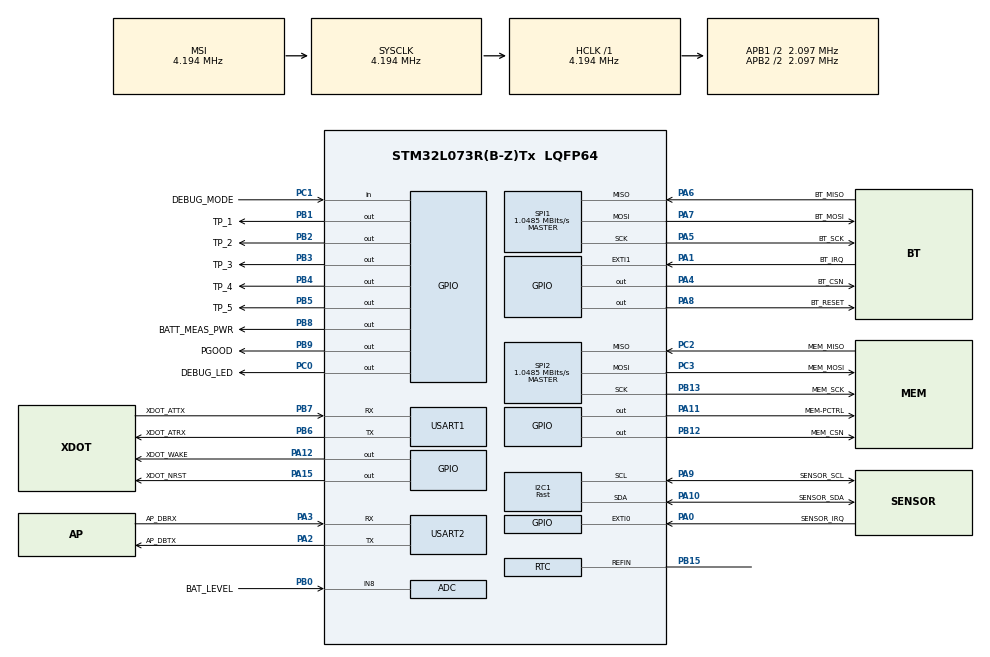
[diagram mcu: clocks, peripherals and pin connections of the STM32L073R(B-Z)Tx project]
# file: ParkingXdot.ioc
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ADC.ClockPrescaler=ADC_CLOCK_SYNC_PCLK_DIV2
ADC.ContinuousConvMode=DISABLE
ADC.DMAContinuousRequests=DISABLE
ADC.DataAlign=ADC_DATAALIGN_RIGHT
ADC.DiscontinuousConvMode=DISABLE
ADC.EOCSelection=ADC_EOC_SINGLE_CONV
ADC.EnableAnalogWatchDog=false
ADC.ExternalTrigConv=ADC_SOFTWARE_START
ADC.ExternalTrigConvEdge=ADC_EXTERNALTRIGCONVEDGE_NONE
ADC.LowPowerAutoPowerOff=DISABLE
ADC.LowPowerAutoWait=DISABLE
ADC.LowPowerFrequencyMode=ENABLE
ADC.Overrun=ADC_OVR_DATA_PRESERVED
ADC.OversamplingMode=DISABLE
ADC.Resolution=ADC_RESOLUTION_12B
ADC.SamplingTime=ADC_SAMPLETIME_160CYCLES_5
ADC.ScanConvMode=ADC_SCAN_DIRECTION_FORWARD
CRC.InputDataFormat=CRC_INPUTDATA_FORMAT_WORDS
Dma.I2C1_RX.3.Direction=DMA_PERIPH_TO_MEMORY
Dma.I2C1_RX.3.Instance=DMA1_Channel7
Dma.I2C1_RX.3.MemDataAlignment=DMA_MDATAALIGN_BYTE
Dma.I2C1_RX.3.MemInc=DMA_MINC_ENABLE
Dma.I2C1_RX.3.Mode=DMA_NORMAL
Dma.I2C1_RX.3.PeriphDataAlignment=DMA_PDATAALIGN_BYTE
Dma.I2C1_RX.3.PeriphInc=DMA_PINC_DISABLE
Dma.I2C1_RX.3.Priority=DMA_PRIORITY_LOW
Dma.I2C1_TX.4.Direction=DMA_MEMORY_TO_PERIPH
Dma.I2C1_TX.4.Instance=DMA1_Channel6
Dma.I2C1_TX.4.MemDataAlignment=DMA_MDATAALIGN_BYTE
Dma.I2C1_TX.4.MemInc=DMA_MINC_ENABLE
Dma.I2C1_TX.4.Mode=DMA_NORMAL
Dma.I2C1_TX.4.PeriphDataAlignment=DMA_PDATAALIGN_BYTE
Dma.I2C1_TX.4.PeriphInc=DMA_PINC_DISABLE
Dma.I2C1_TX.4.Priority=DMA_PRIORITY_LOW
Dma.Request0=USART2_RX
Dma.Request1=USART2_TX
Dma.Request2=USART1_RX
Dma.Request3=I2C1_RX
Dma.Request4=I2C1_TX
Dma.Request5=USART1_TX
Dma.USART1_RX.2.Direction=DMA_PERIPH_TO_MEMORY
Dma.USART1_RX.2.Instance=DMA1_Channel3
Dma.USART1_RX.2.MemDataAlignment=DMA_MDATAALIGN_BYTE
Dma.USART1_RX.2.MemInc=DMA_MINC_ENABLE
Dma.USART1_RX.2.Mode=DMA_CIRCULAR
Dma.USART1_RX.2.PeriphDataAlignment=DMA_PDATAALIGN_BYTE
Dma.USART1_RX.2.PeriphInc=DMA_PINC_DISABLE
Dma.USART1_RX.2.Priority=DMA_PRIORITY_LOW
Dma.USART1_TX.5.Direction=DMA_MEMORY_TO_PERIPH
Dma.USART1_TX.5.Instance=DMA1_Channel2
Dma.USART1_TX.5.MemDataAlignment=DMA_MDATAALIGN_BYTE
Dma.USART1_TX.5.MemInc=DMA_MINC_ENABLE
Dma.USART1_TX.5.Mode=DMA_CIRCULAR
Dma.USART1_TX.5.PeriphDataAlignment=DMA_PDATAALIGN_BYTE
Dma.USART1_TX.5.PeriphInc=DMA_PINC_DISABLE
Dma.USART1_TX.5.Priority=DMA_PRIORITY_LOW
Dma.USART2_RX.0.Direction=DMA_PERIPH_TO_MEMORY
Dma.USART2_RX.0.Instance=DMA1_Channel5
Dma.USART2_RX.0.MemDataAlignment=DMA_MDATAALIGN_BYTE
Dma.USART2_RX.0.MemInc=DMA_MINC_ENABLE
Dma.USART2_RX.0.Mode=DMA_NORMAL
Dma.USART2_RX.0.PeriphDataAlignment=DMA_PDATAALIGN_BYTE
Dma.USART2_RX.0.PeriphInc=DMA_PINC_DISABLE
Dma.USART2_RX.0.Priority=DMA_PRIORITY_LOW
Dma.USART2_TX.1.Direction=DMA_MEMORY_TO_PERIPH
Dma.USART2_TX.1.Instance=DMA1_Channel4
Dma.USART2_TX.1.MemDataAlignment=DMA_MDATAALIGN_BYTE
Dma.USART2_TX.1.MemInc=DMA_MINC_ENABLE
Dma.USART2_TX.1.Mode=DMA_NORMAL
Dma.USART2_TX.1.PeriphDataAlignment=DMA_PDATAALIGN_BYTE
Dma.USART2_TX.1.PeriphInc=DMA_PINC_DISABLE
Dma.USART2_TX.1.Priority=DMA_PRIORITY_LOW
I2C1.I2C_Speed_Mode=I2C_Fast
I2C1.Speed=400
I2C1.Timing=0x00000000
Mcu.Family=STM32L0
Mcu.Name=STM32L073R(B-Z)Tx
Mcu.Package=LQFP64
NVIC.ADC1_COMP_IRQn=true\:0\:0\:false\:false\:true
NVIC.DMA1_Channel2_3_IRQn=true\:0\:0\:false\:false\:true
NVIC.DMA1_Channel4_5_6_7_IRQn=true\:0\:0\:false\:false\:true
NVIC.EXTI0_1_IRQn=true\:0\:0\:false\:false\:true
NVIC.I2C1_IRQn=true\:0\:0\:false\:false\:true
NVIC.RTC_IRQn=true\:0\:0\:false\:false\:true
NVIC.USART1_IRQn=true\:0\:0\:false\:false\:true
NVIC.USART2_IRQn=true\:0\:0\:false\:false\:true
PA0.GPIO_Label=SENSOR_IRQ
PA0.GPIO_PuPd=GPIO_PULLDOWN
PA0.Signal=GPXTI0
PA1.GPIO_Label=BT_IRQ
PA1.GPIO_PuPd=GPIO_PULLDOWN
PA1.Signal=GPXTI1
PA10.GPIO_Label=SENSOR_SDA
PA10.Mode=I2C
PA10.Signal=I2C1_SDA
PA11.GPIO_Label=MEM-PCTRL
PA11.Signal=GPIO_Output
PA12.GPIO_Label=XDOT_WAKE
PA12.Signal=GPIO_Output
PA13.Mode=Serial_Wire
PA13.Signal=SYS_SWDIO
PA14.Mode=Serial_Wire
PA14.Signal=SYS_SWCLK
PA15.GPIO_Label=XDOT_NRST
PA15.GPIO_ModeDefaultOutputPP=GPIO_MODE_OUTPUT_OD
PA15.Signal=GPIO_Output
PA2.GPIO_Label=AP_DBTX
PA2.Mode=Asynchronous
PA2.Signal=USART2_TX
PA3.GPIO_Label=AP_DBRX
PA3.Mode=Asynchronous
PA3.Signal=USART2_RX
PA4.GPIO_Label=BT_CSN
PA4.GPIO_PuPd=GPIO_PULLUP
PA4.GPIO_Speed=GPIO_SPEED_FREQ_VERY_HIGH
PA4.Signal=GPIO_Output
PA5.GPIO_Label=BT_SCK
PA5.Mode=Full_Duplex_Master
PA5.Signal=SPI1_SCK
PA6.GPIO_Label=BT_MISO
PA6.Mode=Full_Duplex_Master
PA6.Signal=SPI1_MISO
PA7.GPIO_Label=BT_MOSI
PA7.Mode=Full_Duplex_Master
PA7.Signal=SPI1_MOSI
PA8.GPIO_Label=BT_RESET
PA8.Signal=GPIO_Output
PA9.GPIO_Label=SENSOR_SCL
PA9.Mode=I2C
PA9.Signal=I2C1_SCL
PB0.GPIO_Label=BAT_LEVEL
PB0.Mode=IN8
PB0.Signal=ADC_IN8
PB1.GPIO_Label=TP_1
PB1.Signal=GPIO_Output
PB12.GPIO_Label=MEM_CSN
PB12.GPIO_PuPd=GPIO_PULLUP
PB12.GPIO_Speed=GPIO_SPEED_FREQ_VERY_HIGH
PB12.Signal=GPIO_Output
PB13.GPIO_Label=MEM_SCK
PB13.Mode=Full_Duplex_Master
PB13.Signal=SPI2_SCK
PB15.Mode=Reference_Clock_Detection_Activate
PB15.Signal=RTC_REFIN
PB2.GPIO_Label=TP_2
PB2.Signal=GPIO_Output
PB3.GPIO_Label=TP_3
PB3.Signal=GPIO_Output
PB4.GPIO_Label=TP_4
PB4.Signal=GPIO_Output
PB5.GPIO_Label=TP_5
PB5.Signal=GPIO_Output
PB6.GPIO_Label=XDOT_ATRX
PB6.Mode=Asynchronous
PB6.Signal=USART1_TX
PB7.GPIO_Label=XDOT_ATTX
PB7.Mode=Asynchronous
PB7.Signal=USART1_RX
PB8.GPIO_Label=BATT_MEAS_PWR
PB8.Signal=GPIO_Output
PB9.GPIO_Label=PGOOD
PB9.Signal=GPIO_Output
PC0.GPIO_Label=DEBUG_LED
PC0.Signal=GPIO_Output
PC1.GPIO_Label=DEBUG_MODE
PC1.Signal=GPIO_Input
PC14-OSC32_IN.Mode=LSE-External-Oscillator
PC14-OSC32_IN.Signal=RCC_OSC32_IN
PC15-OSC32_OUT.Mode=LSE-External-Oscillator
PC15-OSC32_OUT.Signal=RCC_OSC32_OUT
PC2.GPIO_Label=MEM_MISO
PC2.Mode=Full_Duplex_Master
PC2.Signal=SPI2_MISO
PC3.GPIO_Label=MEM_MOSI
PC3.Mode=Full_Duplex_Master
PC3.Signal=SPI2_MOSI
ProjectManager.HeapSize=0x200
ProjectManager.StackSize=0x400
ProjectManager.TargetToolchain=EWARM
RCC.AHBFreq_Value=4194000
RCC.APB1CLKDivider=RCC_HCLK_DIV2
RCC.APB1Freq_Value=2097000
RCC.APB1TimFreq_Value=4194000
RCC.APB2CLKDivider=RCC_HCLK_DIV2
RCC.APB2Freq_Value=2097000
RCC.APB2TimFreq_Value=4194000
RCC.HCLKFreq_Value=4194000
RCC.HSE_VALUE=8000000
RCC.HSI16_VALUE=16000000
RCC.HSI48_VALUE=48000000
RCC.HSI_VALUE=16000000
RCC.LptimClockSelection=RCC_LPTIM1CLKSOURCE_LSE
RCC.MSIClockRange=RCC_MSIRANGE_6
RCC.MSI_VALUE=4194000
RCC.PLLMUL=RCC_PLLMUL_32
RCC.RTCClockSelection=RCC_RTCCLKSOURCE_LSE
RCC.RTCClockSelectionVirtual=RCC_RTCCLKSOURCE_LSE
RCC.SYSCLKFreq_VALUE=4194000
RCC.VCOOutputFreq_Value=512000000
RTC.AlarmMaskDateWeekDay-Alarm\ A=RTC_ALARMMASK_DATEWEEKDAY
RTC.AlarmMaskHours-Alarm\ A=RTC_ALARMMASK_HOURS
RTC.Date=22
RTC.Hours=9
RTC.Hours_A-Alarm\ A=9
RTC.Minutes=7
RTC.Minutes_A-Alarm\ A=8
RTC.Month=RTC_MONTH_FEBRUARY
RTC.Seconds=35
RTC.Seconds_A-Alarm\ A=35
RTC.WakeUpCounter-WakeUp=0x2616
RTC.WeekDay=RTC_WEEKDAY_WEDNESDAY
RTC.Year=17
SPI1.CalculateBaudRate=1.0485 MBits/s
SPI1.Mode=SPI_MODE_MASTER
SPI2.CalculateBaudRate=1.0485 MBits/s
SPI2.Mode=SPI_MODE_MASTER
USART1.WordLength=UART_WORDLENGTH_8B
USART2.WordLength=UART_WORDLENGTH_8B
VP_ADC_TempSens_Input.Mode=IN-TempSens
VP_ADC_Vref_Input.Mode=IN-Vrefint
VP_CRC_VS_CRC.Mode=CRC_Activate
VP_LPTIM1_VS_LPTIM_counterModeInternalClock.Mode=Counts__internal_clock_event_00
VP_RTC_VS_RTC_Activate.Mode=RTC_Enabled
VP_RTC_VS_RTC_Alarm_A_Intern.Mode=Alarm A
VP_RTC_VS_RTC_Calendar.Mode=RTC_Calendar
VP_RTC_VS_RTC_WakeUp_intern.Mode=WakeUp
VP_WWDG_VS_WWDG.Mode=WWDG_Activate
WWDG.Counter=127
WWDG.Prescaler=WWDG_PRESCALER_8
WWDG.Window=127
board=ParkingXdot

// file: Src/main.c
/**
  ******************************************************************************
  * File Name          : main.c
  * Description        : Main program body
  ******************************************************************************
  *
  * COPYRIGHT(c) 2017 STMicroelectronics
  *
  * Redistribution and use in source and binary forms, with or without modification,
  * are permitted provided that the following conditions are met:
  *   1. Redistributions of source code must retain the above copyright notice,
  *      this list of conditions and the following disclaimer.
  *   2. Redistributions in binary form must reproduce the above copyright notice,
  *      this list of conditions and the following disclaimer in the documentation
  *      and/or other materials provided with the distribution.
  *   3. Neither the name of STMicroelectronics nor the names of its contributors
  *      may be used to endorse or promote products derived from this software
  *      without specific prior written permission.
  *
  * THIS SOFTWARE IS PROVIDED BY THE COPYRIGHT HOLDERS AND CONTRIBUTORS "AS IS"
  * AND ANY EXPRESS OR IMPLIED WARRANTIES, INCLUDING, BUT NOT LIMITED TO, THE
  * IMPLIED WARRANTIES OF MERCHANTABILITY AND FITNESS FOR A PARTICULAR PURPOSE ARE
  * DISCLAIMED. IN NO EVENT SHALL THE COPYRIGHT HOLDER OR CONTRIBUTORS BE LIABLE
  * FOR ANY DIRECT, INDIRECT, INCIDENTAL, SPECIAL, EXEMPLARY, OR CONSEQUENTIAL
  * DAMAGES (INCLUDING, BUT NOT LIMITED TO, PROCUREMENT OF SUBSTITUTE GOODS OR
  * SERVICES; LOSS OF USE, DATA, OR PROFITS; OR BUSINESS INTERRUPTION) HOWEVER
  * CAUSED AND ON ANY THEORY OF LIABILITY, WHETHER IN CONTRACT, STRICT LIABILITY,
  * OR TORT (INCLUDING NEGLIGENCE OR OTHERWISE) ARISING IN ANY WAY OUT OF THE USE
  * OF THIS SOFTWARE, EVEN IF ADVISED OF THE POSSIBILITY OF SUCH DAMAGE.
  *
  ******************************************************************************
  */
#include "main.h"
#include "stm32l0xx_hal.h"
#include "adc.h"
#include "crc.h"
#include "dma.h"
#include "i2c.h"
#include "lptim.h"
#include "rtc.h"
#include "spi.h"
#include "usart.h"
#include "wwdg.h"
#include "gpio.h"

/* USER CODE BEGIN Includes */
#include "adc_monitor.h"
// #include "mpc9808.h"
#include "stm32_bluenrg_ble.h"
#include "bluenrg_utils.h"
#include "SENtralA2.h"
#include "parking.h"
#include "parking_sensor.h"
//#include "sensor_service.h"
#include "spi_flash.h"
#include "pni_fota.h"
#include "pni_device_info.h"
#include "radio.h"
#include "parking_buffer.h"
#include "parking_fsm.h"
#include "parking_sensor.h"
#include "parking_sensor_rti.h"
#include "parking_module.h"

#if ENABLE_MCP9808
#include "mcp9808.h"
#include "mcp9808_l0xx.h"
#include "park_temp_sns_mcp9808.h"
#endif /* ENABLE_MCP9808 */

#if ENABLE_XDOT_RADIO
#include "xdot.h"
#include "xdot_hex.h"
#include "crypto.h"
#endif /* ENABLE_XDOT_RADIO */

/* USER CODE END Includes */

/* USER CODE BEGIN PV */
/* Private variables ---------------------------------------------------------*/
static PNI_ParkingBufferIface m_ParkingBuffer = { 0 };
static PNI_ParkingSensorIface m_ParkingSensor = { 0 };
static PNI_RadioIface m_ParkingRadio = { 0 };

/*
 * Store device hardware info like MAC addresses
 */
PNI_DeviceInfo gPniDeviceInfo = { 0 };

#if ENABLE_XDOT_RADIO
/*
 * PNI LoRa AppEUI for iot-dev
 */
 #if ENABLE_LIERDA_2N717M91
 static const uint8_t PNI_LORA_STANDARD_APP_EUI[] = {
    0x2c, 0x26 ,0xc5,0x03 ,0x8f ,0x00 ,0x00 ,0x01,
};
#else
static const uint8_t PNI_LORA_STANDARD_APP_EUI[] = {
    0x14, 0x93, 0x46, 0x00, 0x00, 0x00, 0x00, 0x01
};
#endif
/*
 * Stringified version of AppEUI for use with xDot AT commands
 */
static char gPniLoraStandardAppEui[sizeof(PNI_LORA_STANDARD_APP_EUI) * 3];

/*
 * PNI LoRa AppKey for iot-dev, generated from hmac_md5(AppEUI, DeviceId)
 */
static uint8_t PNI_LORA_STANDARD_APP_KEY[16] = { 0 };

/*
 * Stringified version of AppKey for use with xDot AT commands
 */
static char gPniLoraStandardAppKey[sizeof(PNI_LORA_STANDARD_APP_KEY) * 3];

#if ENABLE_LIERDA_2N717M91
static Xdot_Cfg m_XdotCfg = {
  .echo_enabled = 1,
  .ism_band = XDOT_ISM_BAND_CH470,
  .freq_sub_band = XDOT_FSB_902_3__903_7,
  .public_network_enabled = 1,
  .network_join_mode = XDOT_NJM_AUTO_OTA,
  // .network_id = "38:d1:7d:94:5b:bd:97:a5",
  .network_app_eui = NULL,
  .ni_type = XDOT_NI_TYPE_HEX,
  // .network_key = "e0:29:75:1d:db:a5:66:de:87:5b:62:fa:2f:79:3c:af",
  .network_app_key = NULL,
  .nk_type = XDOT_NI_TYPE_HEX,
  .sf = XDOT_SF_7_BW_125,
  .acks_enabled = 1,
  .rx_type = XDOT_RX_OUT_TYPE_HEX,
};
#else
static Xdot_Cfg m_XdotCfg = {
  .echo_enabled = 1,
  .ism_band = XDOT_ISM_BAND_US915,
  .freq_sub_band = XDOT_FSB_902_3__903_7,
  .public_network_enabled = 1,
  .network_join_mode = XDOT_NJM_OTA,
  // .network_app_eui = "38:d1:7d:94:5b:bd:97:a5",
  .network_app_eui = NULL,
  .ni_type = XDOT_NI_TYPE_HEX,
  // .network_app_key = "e0:29:75:1d:db:a5:66:de:87:5b:62:fa:2f:79:3c:af",
  .network_app_key = NULL,
  .nk_type = XDOT_NI_TYPE_HEX,
  .sf = XDOT_SF_7_BW_125,
  .acks_enabled = 1,
  .rx_type = XDOT_RX_OUT_TYPE_HEX,
  .txp = 11, /* TX power = 11 dBm */
};
#endif

#endif /* ENABLE_XDOT_RADIO */

static const uint64_t RTI_META_EVENT_BITMASK = 4063234762ULL;
static int m_RtiInitComplete = 0;

/* USER CODE END PV */

void SystemClock_Config(void);
void Error_Handler(void);

/* USER CODE BEGIN PFP */
/* Private function prototypes -----------------------------------------------*/
#ifdef __GNUC__
  /* With GCC/RAISONANCE, small printf (option LD Linker->Libraries->Small printf
     set to 'Yes') calls __io_putchar() */
  #define PUTCHAR_PROTOTYPE int __io_putchar(int ch)
#else
  #define PUTCHAR_PROTOTYPE int fputc(int ch, FILE *f)
#endif /* __GNUC__ */

static void Init_BlueNRG_Stack(PNI_ParkingVersion *version);
static void Init_BlueNRG_Custom_Services(void);

/* USER CODE END PFP */

/* USER CODE BEGIN 0 */

#if ENABLE_XDOT_RADIO
int PNI_Radio_Init(PNI_RadioIface *radio, Xdot_Cfg *cfg)
{
    PNI_RadioDeviceId *devid = &gPniDeviceInfo.radio_id;
    int ret;

    ret = pni_radio_xdot_init(radio, &huart1);
    if (ret != PNI_RADIO_RET_OK) {
        return ret;
    }

    /* PPX-70 */
    if ( CHECK_XDOT_FLAG_SET(XDOT_FLAG_PROD_CHANGE_CFG) ) {
      PNI_PRINTF("[RADIO] Change XDot config to EEPROM configuration!!!\r\n");

      /* ism_band is using auto hw detection, leave this part for hw without auto detection */
      if (EEPROM_U32_XDOT_PROD_CFG_ISM_BAND[0] < XDOT_ISM_BAND_MAX) {
        PNI_PRINTF("\tism band: from %u to %u\r\n",
                   cfg->ism_band, EEPROM_U32_XDOT_PROD_CFG_ISM_BAND[0]);

        cfg->ism_band = EEPROM_U32_XDOT_PROD_CFG_ISM_BAND[0];
      }

      if (EEPROM_U32_XDOT_PROD_CFG_SUB_BAND[0] < XDOT_FSB_MAX) {
        PNI_PRINTF("\tsub band: from %u to %u\r\n",
                   cfg->freq_sub_band, EEPROM_U32_XDOT_PROD_CFG_SUB_BAND[0]);

        cfg->freq_sub_band = EEPROM_U32_XDOT_PROD_CFG_SUB_BAND[0];
      }

      if (EEPROM_U32_XDOT_PROD_CFG_SF[0] < XDOT_SF_MAX) {
        PNI_PRINTF("\tsf: from %u to %u\r\n",
                   cfg->sf, EEPROM_U32_XDOT_PROD_CFG_SF[0]);

        cfg->sf = EEPROM_U32_XDOT_PROD_CFG_SF[0];
      }
    }

    ret = radio->configure(radio, cfg);
    if (ret != PNI_RADIO_RET_OK) {
        return ret;
    }

#if 0//ndef ENABLE_LIERDA_2N717M91  // 20170621 modify to get device eui and store
    ret = radio->get_device_id(devid);
    if (ret != PNI_RADIO_RET_OK) {
        return ret;
    }
#endif

    PNI_PRINTF("[RADIO] Device ID: %02x:%02x:%02x:%02x:%02x:%02x:%02x:%02x\r\n",
            devid->bytes[0], devid->bytes[1], devid->bytes[2], devid->bytes[3],
            devid->bytes[4], devid->bytes[5], devid->bytes[6], devid->bytes[7]);

    // PPC-70: if eeprom production config exist, use eeprom config
    if ( CHECK_XDOT_FLAG_SET(XDOT_FLAG_PROD_EUI) ) {
      memcpy((uint8_t *)PNI_LORA_STANDARD_APP_EUI, EEPROM_U8_XDOT_PROD_EUI,
        sizeof(PNI_LORA_STANDARD_APP_EUI));
    }

    // convert network id byte array to string
    xdot_bytes_to_hex(PNI_LORA_STANDARD_APP_EUI, sizeof(PNI_LORA_STANDARD_APP_EUI),
        gPniLoraStandardAppEui, ':', 0);

    if ( CHECK_XDOT_FLAG_SET(XDOT_FLAG_PROD_NET_KEY) ) {
      memcpy((uint8_t *)PNI_LORA_STANDARD_APP_KEY, EEPROM_U8_XDOT_PROD_NET_KEY,
        sizeof(PNI_LORA_STANDARD_APP_KEY));
    } else {
      // generate network key byte array using hmac_md5(network id, device id)
      hmac_md5(PNI_LORA_STANDARD_APP_EUI, sizeof(PNI_LORA_STANDARD_APP_EUI),
          (uint8_t *)devid, sizeof(*devid), PNI_LORA_STANDARD_APP_KEY);
    }

    // convert network key byte array to string
    xdot_bytes_to_hex(PNI_LORA_STANDARD_APP_KEY, sizeof(PNI_LORA_STANDARD_APP_KEY),
        gPniLoraStandardAppKey, ':', 0);

    // assign string versions to xDot cfg
    cfg->network_app_eui = gPniLoraStandardAppEui;
    cfg->network_app_key = gPniLoraStandardAppKey;

    return PNI_RADIO_RET_OK;
}

#if ENABLE_RADIO_TEST_MODE
int PNI_Radio_Test(PNI_RadioIface *radio, Xdot_Cfg *cfg)
{
  Xdot_TestParams params = {
      .txf = "908600000",
      .txp = 11,
      .msg = "deadbeef",
      .interval_ms = 100,
  };

  /* enable test mode */
  radio->set_test_mode_enabled(radio, 1, &params);

  /* endless loop */
  while (1) {
    Clock_Wait(10);
  }
}
#endif /* ENABLE_RADIO_TEST_MODE */

#endif /* ENABLE_XDOT_RADIO */

static void PNI_Parking_ShowSensorVersion(PNI_ParkingVersion *version)
{
  PNI_PRINTF("+----------------------------------------------+\r\n");
  PNI_PRINTF("| PNI SENtral-A2 FW Version: %u.%u.%u.%u\r\n",
  version->major, version->minor, version->patch, version->build);
  PNI_PRINTF("+----------------------------------------------+\r\n");
}

static void PNI_Parking_ShowHostVersion(PNI_ParkingVersion *version,
    const char *build_date, const char *build_time)
{
  PNI_PRINTF(
        "----------------------------------------------\r\n"
        "ParkingXDot Host - V%.2u.%.2u.%.2u.%.3u!!!\r\n"
        "Compiled %s %s"
      #if defined (__IAR_SYSTEMS_ICC__)
        " (IAR)\r\n"
      #elif defined (__GNUC__)
        " (openstm32)\r\n"
      #endif
        "STM32L073 Unique ID: 0x%.08X%.08X%.08X\r\n"
        "----------------------------------------------\r\n"
        , version->major, version->minor, version->patch, version->build,
        build_date, build_time, STM32_UUID[2], STM32_UUID[1], STM32_UUID[0]);
}

static void PNI_Parking_PushLegacyVersions(PNI_ParkingModule *module,
        PNI_ParkingBufferIface *buffer)
{
    PNI_ParkingPacket pkt = {
        .sid = PARK_SNS_TYPE_VERSION,
        .version_info = {
            .host = {
                .major = module->version.host.major,
                .minor = module->version.host.minor,
                .patch = module->version.host.patch,
            },
            .sensor = {
                .major = module->version.sensor.major,
                .minor = module->version.sensor.minor,
                .patch = module->version.sensor.patch,
                .other = 0,
                .build = module->version.sensor.build,
            },
        },
        .timestamp = 0U, /* TODO: get this */
    };

    buffer->push(buffer, &pkt);
}

static void PNI_Parking_PushVersion(PNI_ParkingVersion *version,
        PNI_ParkingBufferIface *buffer)
{
    PNI_ParkingPacket pkt = {
        .sid = PARK_SNS_TYPE_FW_VERSION,
        .version = *version,
        .timestamp = 0U,
    };

    buffer->push(buffer, &pkt);
}

static void PNI_Parking_PushVersions(PNI_ParkingModule *module,
        PNI_ParkingBufferIface *buffer)
{
    /* push legacy version info (host + sensor in one packet) */
    PNI_Parking_PushLegacyVersions(module, buffer);

    /* push new version format (each in own packet) */
    PNI_Parking_PushVersion(&module->version.host, buffer);
    PNI_Parking_PushVersion(&module->version.sensor, buffer);
    PNI_Parking_PushVersion(&module->version.ble, buffer);
}

/* This should go somewhere else ... */
static void PNI_SENtralA2_On_Initialized(void *self, uint16_t ram_ver)
{
  SENtralA2_MetaEvent_Callback *cb = self;
  PNI_ParkingModule *module = cb->params;
  PNI_ParkingSensorIface *park_sns = module->sensor;
  SENtralA2Iface *rti = park_sns->params;

  if (m_RtiInitComplete) {
    PNI_PRINTF("[WARN] already initialized ...\r\n");
    return;
  }

  m_RtiInitComplete = 1;

  /* show version */
  PNI_PRINTF("[INFO] SENtral-A2 initializtion complete!\r\n");
  if (park_sns->get_version(park_sns, &module->version.sensor)
        != PNI_PARKING_RET_OK) {
      PNI_PRINTF("[ERROR] getting parking version\r\n");
  } else {
      PNI_Parking_ShowSensorVersion(&module->version.sensor);
  }
  PNI_Parking_PushVersions(module, module->buffer);

  /* set meta event ctrl */
  PNI_PRINTF("[INFO] setting meta event control ...\r\n");
  if (rti->set_meta_event_ctrl(rti, RTI_META_EVENT_BITMASK,
      RTI_META_EVENT_BITMASK) != SENA2_RET_OK) {
    PNI_PRINTF("[ERROR] setting meta event control\r\n");
  }
#ifdef ENABLE_SWITCH_SOLUTION
#ifdef ENBALE_GAME_ROTATION_VECTOR
  /* enable game rotation sensor */
  PNI_PRINTF("[INFO] enabling game rotation sensor ...\r\n");
  if (park_sns->set_game_rotation_enabled(park_sns, 1) != PNI_PARKING_RET_OK) {
    PNI_PRINTF("[ERROR] enabling game rotation sensor\r\n");
  }
#endif
#ifdef ENABLE_ORIENTATION
  /* enable orientation sensor */
  PNI_PRINTF("[INFO] enabling orientation sensor ...\r\n");
  if (park_sns->set_orientation_enabled(park_sns, 1) != PNI_PARKING_RET_OK) {
    PNI_PRINTF("[ERROR] enabling orientation sensor\r\n");
  }
#endif

#else
  /* enable car detector sensor */
  PNI_PRINTF("[INFO] enabling car detector sensor ...\r\n");
  if (park_sns->set_car_detector_enabled(park_sns, 1) != PNI_PARKING_RET_OK) {
    PNI_PRINTF("[ERROR] enabling car detector sensor\r\n");
  }
#endif
}

static void PNI_SENtralA2_Meta_Event_Callback_Init(SENtralA2Iface *rti,
    SENtralA2_MetaEvent_Callback *cb, PNI_ParkingModule *module)
{
  cb->on_initialized = &PNI_SENtralA2_On_Initialized;
  cb->params = module;
  rti->meta_event_cb = cb;
}

/* USER CODE END 0 */

int main(void)
{

  /* USER CODE BEGIN 1 */

  /* Define interfaces */
  /*A2基本信息设置，获取api*/
  SENtralA2Iface rti = { 0 };

  /*A2 Meta Event回调处理接口*/
  SENtralA2_MetaEvent_Callback meta_event_cb = { 0 };

  /*parking结构体的接口初始化[属于最外层结构体-汇总]*/
  PNI_ParkingModule park_module = {
    .buffer = &m_ParkingBuffer,
    .sensor = &m_ParkingSensor,
    .radio = &m_ParkingRadio,
    .cfg = { 0 },
    .version = {
        .host = {
            .vid = PARK_VID_HOST,
            .major = (uint8_t)HOST_REL_MAJOR,
            .minor = (uint8_t)HOST_REL_MINOR,
            .patch = (uint8_t)HOST_REL_PATCH,
            .build = (uint32_t)HOST_REL_BUILD,
        },
        .sensor = {
            .vid = PARK_VID_SENSOR,
            .major = 0,
            .minor = 0,
            .patch = 0,
            .build = 0,
         },
        .ble = {
            .vid = PARK_VID_BLE,
            .major = 0,
            .minor = 0,
            .patch = 0,
            .build = 0,
         },
        .lora = {
            .vid = PARK_VID_LORA,
            .major = 0,
            .minor = 0,
            .patch = 0,
            .build = 0,
         },
    },
  };

#if ENABLE_MCP9808
  /*温度传感器结构体初始化，在PNI_ParkingModule结构体中有对应结构体与之对应。最终tmp_sns需要向PNI_ParkingModule传递*/
  PNI_ParkingTemperatureSensorIface tmp_sns = { 0 };
  MCP9808_Iface mcp9808 = { 0 };
  MCP9808_L0XXParams mcp9808_params = {
    .hi2c = &MCP9808_I2C_HANDLE,
    .addr = MCP9808_I2C_ADDR,
    .timeout = MCP9808_I2C_TIMEOUT,
  };
#endif /* ENABLE_MCP9808 */

  /* USER CODE END 1 */

  /* MCU Configuration----------------------------------------------------------*/

  /* Reset of all peripherals, Initializes the Flash interface and the Systick. */
  HAL_Init();

  /* Configure the system clock */
  SystemClock_Config();

  /* Initialize all configured peripherals */
  MX_GPIO_Init();
  MX_DMA_Init();
  MX_ADC_Init();
  MX_I2C1_Init();
  MX_LPTIM1_Init();
  MX_RTC_Init();
  MX_SPI1_Init();
  MX_SPI2_Init();
  MX_USART1_UART_Init();
  MX_CRC_Init();

  /* USER CODE BEGIN 2 */
  #if ENABLE_PRINTF
  MX_USART2_UART_Init();
  #endif
  #if 0//ENABLE_WWDG
  MX_WWDG_Init();
  #endif
  #if 0//ENABLE_WAKEUP_TIME
  RTC_CalendarShow();
  #endif

  PNI_Parking_ShowHostVersion(&park_module.version.host, __DATE__, __TIME__);

  #if 0//ENABLE_WWDG
  if (HAL_WWDG_Refresh(&hwwdg) != HAL_OK)
      Error_Handler();
  #endif

  #if 0//ENABLE_XDOT_RADIO
  PNI_PRINTF("\r\n<<<< xDot Radio Init >>>\r\n");
  if (PNI_Radio_Init(park_module.radio, &m_XdotCfg) == PNI_RADIO_RET_OK) {
    PNI_PRINTF("Radio OK!\r\n");
  } else {
    PNI_PRINTF("Rasio FAILED!\r\n");
  }

  #if ENABLE_RADIO_TEST_MODE
  #ifndef ENABLE_LIERDA_2N717M91// CH Lora module haven't test mode
    PNI_Radio_Test(&m_ParkingRadio, &m_XdotCfg);
  #endif
  #endif /* ENABLE_RADIO_TEST_MODE */

  #endif /* ENABLE_XDOT_RADIO */

  #if 0//ENABLE_MCU_ADC//for battery
  PNI_PRINTF("\r\nMulti Channel ADC Monitor Init... ");
  /* this if for testing multi channel ADC monitor*/
  BATT_MEANS_PWR_ON();
  Adc_Monitor_Init();
  BATT_MEANS_PWR_OFF();
  PNI_PRINTF("Done\r\n");
  #endif

  #if 0//ENABLE_MCP9808
  /* this is for testing temperature module MPC9808 */
  PNI_PRINTF("\r\nDetecting MPC9808 ... ");

  /* initialize MCP9808 I2C I/O interface */
  mcp9808_l0xx_init(&mcp9808, &mcp9808_params);

  /* initialize MCP9808 parking temperature sensor implementation */
  park_tmp_sns_mcp9808_init(&tmp_sns, &mcp9808);

  if (tmp_sns.is_ready(&tmp_sns) == PARK_TEMP_SNS_RET_OK) {
    PNI_PRINTF("Found device\r\n");
    park_module.tmp_sns = &tmp_sns;
  } else {
    PNI_PRINTF("Not found\r\n");
  }
  #endif

  #if 0//ENABLE_BLE_FOTA
  PNI_PRINTF("\r\n<<<< START BLE >>>>\r\n");

  /* Initialize all FOTA related software */
  sFLASH_Init();
  Init_BlueNRG_Stack(&park_module.version.ble);
  Init_BlueNRG_Custom_Services();
  PNI_PRINTF("Start BLE Done\r\n");
  #endif

  #if ENABLE_SENTRAL_A2
  PNI_PRINTF("\r\n<<<< RTI module initialize >>>>\r\n");

  // Initialize parking sensor circular buffer //park_module buffer 结构体初始化
  //pni_parking_buffer_init(park_module.buffer);

  // Initialize RTI
  if (SENtralA2_init(&rti) != SENA2_RET_OK) {
    PNI_PRINTF("RTI module init Error\r\n");
  } else {
    PNI_PRINTF("RTI module init Done\r\n");
  }

  // Initialize parking sensor interface
  //pni_park_sns_rti_init(park_module.sensor, &rti);
  //PNI_SENtralA2_Meta_Event_Callback_Init(&rti, &meta_event_cb, &park_module);
#ifdef ENABLE_SWITCH_SOLUTION
  uint8_t regVal=0;

  uint64_t metaEventBits = 0xFFFFFFFFFFFF;
	ParamInfo param[] = { 1, 8 };
	SENtralA2_param_write((uint8_t*)&metaEventBits, PARAM_PAGE_SYSTEM, param, 1);
  Clock_Wait(100);
	param[0].paramNo = 29;
	SENtralA2_param_write((uint8_t*)&metaEventBits, PARAM_PAGE_SYSTEM, param, 1);
  Clock_Wait(100);
  //SENtralA2_i2c_write_value(0xB6, 63);

  //Set NED on all Qs
  //Read out Reg before setting it.
  SENtralA2_i2c_read_value(HOST_INTERFACE_CTRL_REG, &regVal);
  SENtralA2_i2c_write_value(HOST_INTERFACE_CTRL_REG, regVal|0x10);
#ifdef ENBALE_GAME_ROTATION_VECTOR
  /* enable game rotation sensor */
  PNI_PRINTF("[INFO] enabling game rotation sensor ...\r\n");

  #if 1
  uint32_t rvall=0;
  rvall = SENtralA2_set_sensor_rate(SENSOR_TYPE_ACCELEROMETER,100);
  PNI_PRINTF("[%d] enabling accal sensor\r\n",rvall);
  rvall = SENtralA2_set_sensor_rate(SENSOR_TYPE_GYROSCOPE,200);
  Clock_Wait(200);
  PNI_PRINTF("[%d] enabling gyro sensor\r\n",rvall);
  rvall = SENtralA2_set_sensor_rate(SENSOR_TYPE_MAGNETIC_FIELD,30);
  PNI_PRINTF("[%d] enabling m sensor\r\n",rvall);
  //rvall = SENtralA2_set_sensor_rate(SENSOR_TYPE_GAME_ROTATION_VECTOR,30);
  //PNI_PRINTF("[%d] enabling SENSOR_TYPE_GAME_ROTATION_VECTOR sensor\r\n",rvall);
  #else
  if (park_module.sensor->set_game_rotation_enabled(park_module.sensor, 1) != PNI_PARKING_RET_OK) {
    PNI_PRINTF("[ERROR] enabling game rotation sensor\r\n");
  }
  else
    PNI_PRINTF("[ok] enabling game rotation sensor\r\n");
  #endif
#endif
#ifdef 0//ENABLE_ORIENTATION
  /* enable orientation sensor */

  PNI_PRINTF("[main INFO] enabling orientation sensor ...\r\n");
  #if 0
  if (park_module.sensor->set_orientation_enabled(park_module.sensor, 1) != PNI_PARKING_RET_OK) {
    PNI_PRINTF("[ERROR] enabling orientation sensor\r\n");
  }
  #else
  uint32_t rvall=0;
  rvall = SENtralA2_set_sensor_rate(SENSOR_TYPE_ACCELEROMETER,100);
  PNI_PRINTF("[%d] enabling SENSOR_TYPE_ACCELEROMETER sensor\r\n",rvall);
  rvall = SENtralA2_set_sensor_rate(SENSOR_TYPE_GYROSCOPE,200);
  PNI_PRINTF("[%d] enabling SENSOR_TYPE_GYROSCOPE sensor\r\n",rvall);
  rvall = SENtralA2_set_sensor_rate(SENSOR_TYPE_MAGNETIC_FIELD,30);
  PNI_PRINTF("[%d] enabling SENSOR_TYPE_MAGNETIC_FIELD sensor\r\n",rvall);
   rvall = SENtralA2_set_sensor_rate(SENSOR_TYPE_ORIENTATION,30);
  PNI_PRINTF("[%d] enabling orientation sensor\r\n",rvall);
  #endif
#endif

  SENtralA2_flush_fifo();
  Clock_Wait(200);
#endif
  #endif

  /* USER CODE END 2 */

  /* Infinite loop */
  while (1)
  {

  /* USER CODE BEGIN 3 */
  #if ENABLE_LED_DBG
    DBG_LED_TOGGLE();
  #endif

  #if ENABLE_WWDG
    if (HAL_WWDG_Refresh(&hwwdg) != HAL_OK)
      Error_Handler();
  #endif

  #if ENABLE_SENTRAL_A2
  #if ENBALE_TEST_SENTRALA2
  // SENtrace use SENtral-A2
	//if(SENtralA2_interrupt())
	{
    extern uint8_t  SENtralA2FIFOBuf[3000];
    uint32_t bytesRead;
		// read fifo
		bytesRead = SENtralA2_read_fifo(SENtralA2FIFOBuf);
		PNI_PRINTF("bytes read: %u\r\n", bytesRead);
		SENtrace_parse_fifo(SENtralA2FIFOBuf, bytesRead);
	}
  #else
    Parking_Fsm(&park_module);
  #endif
  #endif

  }
  /* USER CODE END 3 */

}

/** System Clock Configuration
*/
void SystemClock_Config(void)
{

  RCC_OscInitTypeDef RCC_OscInitStruct;
  RCC_ClkInitTypeDef RCC_ClkInitStruct;
  RCC_PeriphCLKInitTypeDef PeriphClkInit;

    /**Configure the main internal regulator output voltage
    */
  __HAL_PWR_VOLTAGESCALING_CONFIG(PWR_REGULATOR_VOLTAGE_SCALE1);

    /**Initializes the CPU, AHB and APB busses clocks
    */
  RCC_OscInitStruct.OscillatorType = RCC_OSCILLATORTYPE_LSE|RCC_OSCILLATORTYPE_MSI;
  RCC_OscInitStruct.LSEState = RCC_LSE_ON;
  RCC_OscInitStruct.MSIState = RCC_MSI_ON;
  RCC_OscInitStruct.MSICalibrationValue = 0;
  RCC_OscInitStruct.MSIClockRange = RCC_MSIRANGE_6;
  RCC_OscInitStruct.PLL.PLLState = RCC_PLL_NONE;
  if (HAL_RCC_OscConfig(&RCC_OscInitStruct) != HAL_OK)
  {
    Error_Handler();
  }

    /**Initializes the CPU, AHB and APB busses clocks
    */
  RCC_ClkInitStruct.ClockType = RCC_CLOCKTYPE_HCLK|RCC_CLOCKTYPE_SYSCLK
                              |RCC_CLOCKTYPE_PCLK1|RCC_CLOCKTYPE_PCLK2;
  RCC_ClkInitStruct.SYSCLKSource = RCC_SYSCLKSOURCE_MSI;
  RCC_ClkInitStruct.AHBCLKDivider = RCC_SYSCLK_DIV1;
  RCC_ClkInitStruct.APB1CLKDivider = RCC_HCLK_DIV2;
  RCC_ClkInitStruct.APB2CLKDivider = RCC_HCLK_DIV2;

  if (HAL_RCC_ClockConfig(&RCC_ClkInitStruct, FLASH_LATENCY_0) != HAL_OK)
  {
    Error_Handler();
  }

  PeriphClkInit.PeriphClockSelection = RCC_PERIPHCLK_USART1|RCC_PERIPHCLK_USART2
                              |RCC_PERIPHCLK_I2C1|RCC_PERIPHCLK_RTC
                              |RCC_PERIPHCLK_LPTIM1;
  PeriphClkInit.Usart1ClockSelection = RCC_USART1CLKSOURCE_PCLK2;
  PeriphClkInit.Usart2ClockSelection = RCC_USART2CLKSOURCE_PCLK1;
  PeriphClkInit.I2c1ClockSelection = RCC_I2C1CLKSOURCE_PCLK1;
  PeriphClkInit.RTCClockSelection = RCC_RTCCLKSOURCE_LSE;
  PeriphClkInit.LptimClockSelection = RCC_LPTIM1CLKSOURCE_LSE;

  if (HAL_RCCEx_PeriphCLKConfig(&PeriphClkInit) != HAL_OK)
  {
    Error_Handler();
  }

    /**Configure LSE Drive Capability
    */
  __HAL_RCC_LSEDRIVE_CONFIG(RCC_LSEDRIVE_LOW);

    /**Configure the Systick interrupt time
    */
  HAL_SYSTICK_Config(HAL_RCC_GetHCLKFreq()/1000);

    /**Configure the Systick
    */
  HAL_SYSTICK_CLKSourceConfig(SYSTICK_CLKSOURCE_HCLK);

  /* SysTick_IRQn interrupt configuration */
  HAL_NVIC_SetPriority(SysTick_IRQn, 0, 0);
}

/* USER CODE BEGIN 4 */
PUTCHAR_PROTOTYPE
{
  /* Place your implementation of fputc here */
  /* e.g. write a character to the EVAL_COM1 and Loop until the end of transmission */

  // By default - Transmit using USART1
  //HAL_UART_Transmit(&huart2, (uint8_t *)&ch, 1, 0xFFFF);
  HAL_UART_Transmit_DMA(&huart2, (uint8_t *)&ch, 1);

  return ch;
}

/** @brief Initialize the BlueNRG Stack
 * @param None
 * @retval None
 */
static void Init_BlueNRG_Stack(PNI_ParkingVersion *version)
{
  const char BoardName[] = {NAME_PNI_BLE,0};
  uint16_t service_handle, dev_name_char_handle, appearance_char_handle;
  int ret;
  uint8_t  hwVersion;
  uint16_t fwVersion;
  uint8_t rdLength = 0;

  PNI_PRINTF("Initializing HCI...");
  /* Initialize the BlueNRG HCI */
  HCI_Init();
  PNI_PRINTF("Done\r\n");

  PNI_PRINTF("Reset BlueNRG hardware...");
  /* Reset BlueNRG hardware */
  BlueNRG_RST();
  PNI_PRINTF("Done\r\n");

  PNI_PRINTF("Get BlueNRG version...");
  /* get the BlueNRG HW and FW versions */
  getBlueNRGVersion(&hwVersion, &fwVersion);
  PNI_PRINTF("BlueNRG version: %u, %u\n", hwVersion, fwVersion);
  version->major = (fwVersion >> 8);
  version->minor = (fwVersion >> 4) & 0x0F;
  version->minor = 0;
  version->build = 0;

  PNI_PRINTF("Reset BlueNRG hardware 2nd time...");
  /*
   * Reset BlueNRG again otherwise it will fail.
   */
  BlueNRG_RST();
  PNI_PRINTF("Done\r\n");

  /* check for manufacture BLE public mac flag */
  if (CHECK_BLE_FLAG_SET(BLE_FLAG_PUBLIC_MAC))
  {
    PNI_PRINTF("[DBG]write config data...");
    memcpy(bdaddr, EEPROM_U8_BLE_PUBLIC_MAC, sizeof(bdaddr));

    PNI_PRINTF("\tpublic address: %.02X-%.02X-%.02X-%.02X-%.02X-%.02X\r\n",
    bdaddr[5], bdaddr[4], bdaddr[3], bdaddr[2], bdaddr[1], bdaddr[0]);
    ret = aci_hal_write_config_data(CONFIG_DATA_PUBADDR_OFFSET,
                                    CONFIG_DATA_PUBADDR_LEN,
                                    bdaddr);
    if(ret > 0)
    {
        PNI_PRINTF("\r\nSetting Pubblic BD_ADDR failed(0x%.2X)\r\n", ret);
        goto fail;
    }
  }

  PNI_PRINTF("Initializing GATT...");
  ret = aci_gatt_init();
  if(ret){
     PNI_PRINTF("Failed(%u)\r\n", ret);
     goto fail;
  } else {
    PNI_PRINTF("Done\r\n");
  }

  PNI_PRINTF("Initializing GAP...");
  ret = aci_gap_init_IDB05A1(GAP_PERIPHERAL_ROLE_IDB05A1, 0, 0x07, &service_handle, &dev_name_char_handle, &appearance_char_handle);
  if(ret != BLE_STATUS_SUCCESS){
     PNI_PRINTF("Failed(0x%.2X)\r\n", ret);
     goto fail;
  } else {
    PNI_PRINTF("Done\r\n");
  }

  /* if manufacture didn't config BLE public mac, read the random address */
  if ( CHECK_BLE_FLAG_SET(BLE_FLAG_PUBLIC_MAC) == 0 )
  {
    /* STM DT0070 Design Tip - use random address from radio stack
     * http://www.st.com/content/ccc/resource/technical/document/design_tip/group0/8e/c9/29/21/85/60/4c/7d/DM00321427/files/DM00321427.pdf/jcr:content/translations/en.DM00321427.pdf
     *
     * BLE devices can also use random addresses. From the BlueNRG-MS radio stack version
     * 7.1c and onwards, the random address is generated autonomously by the BlueNRG-MS
     * radio stack upon the first call to the API aci_gap_init(). This address is stored persistently
     * into the BlueNRG-MS Flash. The address value can be read from the application using the
     * tBleStatus aci_hal_read_config_data(uint8_t offset, uint16_t data_len, uint8_t
     * *data_len_out_p, uint8_t *data); command with the parameter offset set equal to 0x80.
     */
    //RTC_CalendarShow();
    PNI_PRINTF("Reading Config Data...\r\n");
    ret = aci_hal_read_config_data(CONFIG_DATA_RANDOM_ADDRESS,
              CONFIG_DATA_PUBADDR_LEN, &rdLength, bdaddr);
    if(ret){
       PNI_PRINTF("Failed(%u)\r\n", ret);
       goto fail;
    } else {
       PNI_PRINTF("Done\r\n");
    }
  }

  PNI_PRINTF("Update characteristic...");
  ret = aci_gatt_update_char_value(service_handle, dev_name_char_handle, 0,
                                   7/*strlen(BoardName)*/, (uint8_t *)BoardName);
  if(ret){
    PNI_PRINTF("\r\naci_gatt_update_char_value failed(0x%.2X)\r\n", ret);
    while(1);
  } else {
    PNI_PRINTF("Done\r\n");
  }

  PNI_PRINTF("Set Authentication Requirement...");
  ret = aci_gap_set_auth_requirement(MITM_PROTECTION_REQUIRED,
                                     OOB_AUTH_DATA_ABSENT,
                                     NULL, 7, 16,
                                     USE_FIXED_PIN_FOR_PAIRING, 123456,
                                     BONDING);
  if (ret != BLE_STATUS_SUCCESS) {
     PNI_PRINTF("\r\nGAP setting Authentication failed(0x%.2X)\r\n", ret);
     goto fail;
  } else {
     PNI_PRINTF("Done\r\n");
  }

  PNI_PRINTF("SERVER: BLE Stack Initialized \r\n"
         "\t\tBoard type=%s HWver=%d, FWver=%d.%d.%c\r\n"
         "\t\tBoardName= %s\r\n"
         "\t\tBoardMAC(%s)= %.02x:%.02x:%.02x:%.02x:%.02x:%.02x\r\n\n",
         "PNI RTI/XDOT Parking Module",
         hwVersion,
         fwVersion>>8,
         (fwVersion>>4)&0xF,
         (hwVersion > 0x30) ? ('a'+(fwVersion&0xF)-1) : 'a',
         BoardName,
        (CHECK_BLE_FLAG_SET(BLE_FLAG_PUBLIC_MAC))? "Public":"Random",
         bdaddr[5],bdaddr[4],bdaddr[3],bdaddr[2],bdaddr[1],bdaddr[0]);

  PNI_PRINTF("Set output power level...");
  /* Set output power level */
  aci_hal_set_tx_power_level(1,4);
  PNI_PRINTF("Done\r\n");

  return;

fail:
  return;
}

/** @brief Initialize all the Custom BlueNRG services
 * @param None
 * @retval None
 */
static void Init_BlueNRG_Custom_Services(void)
{
  int ret;
  // PNI FOTA service
#if 0
    ret = Add_old_Dfu_Service();
    if(ret == BLE_STATUS_SUCCESS) {
       PNI_PRINTF("PNI Dfu Service added successfully\r\n");
    } else {
       PNI_PRINTF("\r\nError while adding PNI Dfu Service(0x%.2X)\r\n", ret);
    }
#endif
  // PNI FOTA service
  ret = Add_Dfu_Service();
  if(ret == BLE_STATUS_SUCCESS) {
     PNI_PRINTF("PNI Dfu Service added successfully\r\n");
  } else {
     PNI_PRINTF("\r\nError while adding PNI Dfu Service(0x%.2X)\r\n", ret);
  }

#if 0
  ret = Add_ConsoleW2ST_Service();
  if(ret == BLE_STATUS_SUCCESS) {
     PNI_PRINTF("Console Service W2ST added successfully\r\n");
  } else {
     PNI_PRINTF("\r\nError while adding Console Service W2ST(0x%.2X)\r\n", ret);
  }
#endif
}

/* USER CODE END 4 */

void Error_Handler(void)
{
  /* USER CODE BEGIN Error_Handler */
  PNI_PRINTF("[ERROR] Error Handler\r\n");

  /* User can add his own implementation to report the HAL error return state */
  while(1)
  {
  }
  /* USER CODE END Error_Handler */
}

/************************ (C) COPYRIGHT STMicroelectronics *****END OF FILE****/
